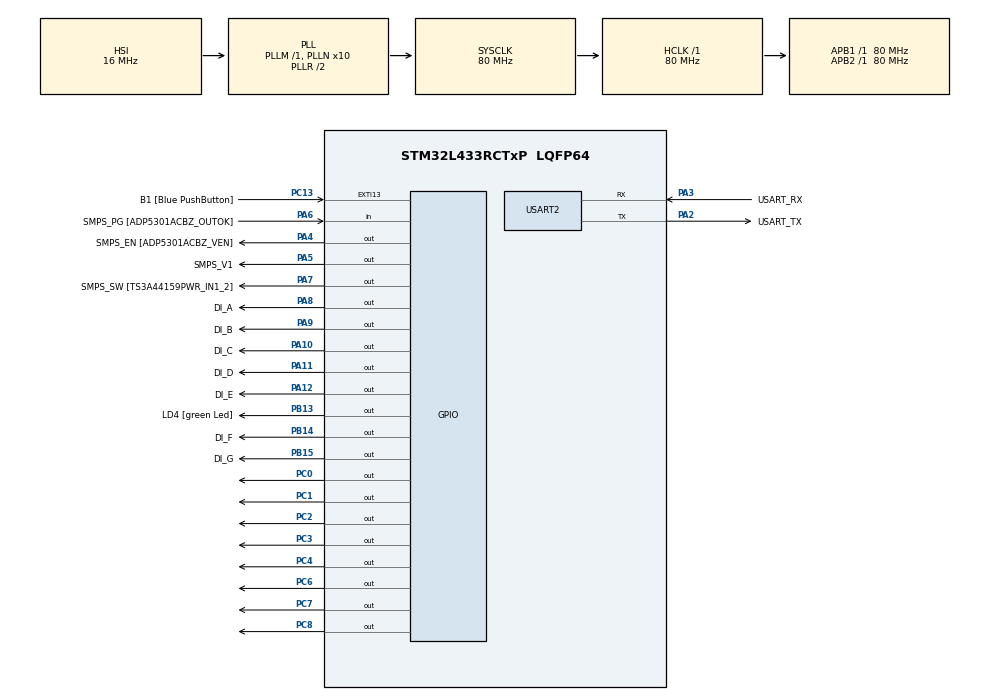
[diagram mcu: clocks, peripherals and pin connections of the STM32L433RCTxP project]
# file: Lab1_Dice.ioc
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Mcu.Family=STM32L4
Mcu.Name=STM32L433RCTxP
Mcu.Package=LQFP64
NVIC.EXTI15_10_IRQn=true\:0\:0\:false\:false\:true\:true\:true\:true
NVIC.PriorityGroup=NVIC_PRIORITYGROUP_4
PA10.GPIO_Label=DI_C
PA10.Signal=GPIO_Output
PA11.GPIO_Label=DI_D
PA11.Signal=GPIO_Output
PA12.GPIO_Label=DI_E
PA12.Signal=GPIO_Output
PA13\ (JTMS-SWDIO).GPIO_Label=TMS
PA13\ (JTMS-SWDIO).Mode=Serial_Wire
PA13\ (JTMS-SWDIO).Signal=SYS_JTMS-SWDIO
PA14\ (JTCK-SWCLK).GPIO_Label=TCK
PA14\ (JTCK-SWCLK).Mode=Serial_Wire
PA14\ (JTCK-SWCLK).Signal=SYS_JTCK-SWCLK
PA2.GPIO_Label=USART_TX
PA2.GPIO_Mode=GPIO_MODE_AF_PP
PA2.GPIO_PuPd=GPIO_NOPULL
PA2.GPIO_Speed=GPIO_SPEED_FREQ_VERY_HIGH
PA2.Mode=Asynchronous
PA2.Signal=USART2_TX
PA3.GPIO_Label=USART_RX
PA3.GPIO_Mode=GPIO_MODE_AF_PP
PA3.GPIO_PuPd=GPIO_NOPULL
PA3.GPIO_Speed=GPIO_SPEED_FREQ_VERY_HIGH
PA3.Mode=Asynchronous
PA3.Signal=USART2_RX
PA4.GPIO_Label=SMPS_EN [ADP5301ACBZ_VEN]
PA4.Signal=GPIO_Output
PA5.GPIO_Label=SMPS_V1
PA5.GPIO_ModeDefaultOutputPP=GPIO_MODE_OUTPUT_PP
PA5.GPIO_PuPd=GPIO_NOPULL
PA5.GPIO_Speed=GPIO_SPEED_FREQ_LOW
PA5.Signal=GPIO_Output
PA6.GPIO_Label=SMPS_PG [ADP5301ACBZ_OUTOK]
PA6.GPIO_PuPd=GPIO_PULLUP
PA6.Signal=GPIO_Input
PA7.GPIO_Label=SMPS_SW [TS3A44159PWR_IN1_2]
PA7.Signal=GPIO_Output
PA8.GPIO_Label=DI_A
PA8.Signal=GPIO_Output
PA9.GPIO_Label=DI_B
PA9.Signal=GPIO_Output
PB13.GPIO_Label=LD4 [green Led]
PB13.Signal=GPIO_Output
PB14.GPIO_Label=DI_F
PB14.Signal=GPIO_Output
PB15.GPIO_Label=DI_G
PB15.Signal=GPIO_Output
PB3\ (JTDO-TRACESWO).GPIO_Label=SWO
PB3\ (JTDO-TRACESWO).Signal=SYS_JTDO-SWO
PC0.Signal=GPIO_Output
PC1.Signal=GPIO_Output
PC13.GPIO_Label=B1 [Blue PushButton]
PC13.GPIO_ModeDefaultEXTI=GPIO_MODE_IT_FALLING
PC13.GPIO_PuPd=GPIO_NOPULL
PC13.Signal=GPXTI13
PC14-OSC32_IN\ (PC14).Mode=LSE-External-Oscillator
PC14-OSC32_IN\ (PC14).Signal=RCC_OSC32_IN
PC15-OSC32_OUT\ (PC15).Mode=LSE-External-Oscillator
PC15-OSC32_OUT\ (PC15).Signal=RCC_OSC32_OUT
PC2.Signal=GPIO_Output
PC3.Signal=GPIO_Output
PC4.Signal=GPIO_Output
PC6.Signal=GPIO_Output
PC7.Signal=GPIO_Output
PC8.Signal=GPIO_Output
PH0-OSC_IN\ (PH0).GPIO_Label=MCO
PH0-OSC_IN\ (PH0).Mode=HSE-External-Clock-Source
PH0-OSC_IN\ (PH0).Signal=RCC_OSC_IN
PH1-OSC_OUT\ (PH1).Signal=RCC_OSC_OUT
ProjectManager.HeapSize=0x200
ProjectManager.StackSize=0x400
ProjectManager.TargetToolchain=STM32CubeIDE
RCC.ADCFreq_Value=64000000
RCC.AHBFreq_Value=80000000
RCC.APB1Freq_Value=80000000
RCC.APB1TimFreq_Value=80000000
RCC.APB2Freq_Value=80000000
RCC.APB2TimFreq_Value=80000000
RCC.CortexFreq_Value=80000000
RCC.HCLKFreq_Value=80000000
RCC.HSE_VALUE=8000000
RCC.HSI48_VALUE=48000000
RCC.HSI_VALUE=16000000
RCC.MSI_VALUE=4000000
RCC.PLLN=10
RCC.PLLSourceVirtual=RCC_PLLSOURCE_HSI
RCC.PREFETCH_ENABLE=1
RCC.SYSCLKFreq_VALUE=80000000
RCC.SYSCLKSource=RCC_SYSCLKSOURCE_PLLCLK
RCC.USBFreq_Value=64000000
RCC.VCOOutputFreq_Value=160000000
USART2.VirtualMode-Asynchronous=VM_ASYNC
board=NUCLEO-L433RC-P

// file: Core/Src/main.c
/* USER CODE BEGIN Header */
/**
  ******************************************************************************
  * @file           : main.c
  * @brief          : Main program body
  ******************************************************************************
  * @attention
  *
  * Copyright (c) 2025 STMicroelectronics.
  * All rights reserved.
  *
  * This software is licensed under terms that can be found in the LICENSE file
  * in the root directory of this software component.
  * If no LICENSE file comes with this software, it is provided AS-IS.
  *
  ******************************************************************************
  */
/* USER CODE END Header */
#include "main.h"

/* USER CODE BEGIN Includes */
#include <stdlib.h>
/* USER CODE END Includes */

UART_HandleTypeDef huart2;

void SystemClock_Config(void);
static void MX_GPIO_Init(void);
static void MX_USART2_UART_Init(void);
/* USER CODE BEGIN PFP */
int is_blue_button_pressed();
/* USER CODE END PFP */

/* USER CODE BEGIN 0 */
const uint16_t sseg[10] = {0x5F,0x06,0x9B,0x8F,0xC6,0xCD,0xDD,0x07,0xDF,0xCF};
const uint16_t sseg_err = 0x19C;

void put_on_sseg(uint8_t dec_nbr){
	GPIOC->ODR = 0x00;

	if(dec_nbr >= 0 && dec_nbr <= 9){
		GPIOC->ODR = sseg[dec_nbr];
		return;
		}
	GPIOC->ODR = sseg_err;
}

// Returns 1 if button is pressed, else 0 //
int is_blue_button_pressed(){
	return (GPIOC->IDR & GPIO_PIN_13) != 0;
}

// Restets all pins in the dice to 0
void reset_die_dots(){
	HAL_GPIO_WritePin(DI_A_GPIO_Port,DI_A_Pin ,GPIO_PIN_RESET);
	HAL_GPIO_WritePin(DI_B_GPIO_Port,DI_B_Pin ,GPIO_PIN_RESET);
	HAL_GPIO_WritePin(DI_C_GPIO_Port,DI_C_Pin ,GPIO_PIN_RESET);
	HAL_GPIO_WritePin(DI_D_GPIO_Port,DI_D_Pin ,GPIO_PIN_RESET);
	HAL_GPIO_WritePin(DI_E_GPIO_Port,DI_E_Pin ,GPIO_PIN_RESET);
	HAL_GPIO_WritePin(DI_F_GPIO_Port,DI_F_Pin ,GPIO_PIN_RESET);
	HAL_GPIO_WritePin(DI_G_GPIO_Port,DI_G_Pin ,GPIO_PIN_RESET);
}

//turns on dice diodes depending on paramiter number
void put_die_dots(uint8_t die_number){

	reset_die_dots();

	switch(die_number){
	case 1:
		HAL_GPIO_WritePin(DI_G_GPIO_Port,DI_G_Pin ,GPIO_PIN_SET);
		break;
	case 2:
		HAL_GPIO_WritePin(DI_C_GPIO_Port,DI_C_Pin ,GPIO_PIN_SET);
		HAL_GPIO_WritePin(DI_D_GPIO_Port,DI_D_Pin ,GPIO_PIN_SET);
		break;
	case 3:
		HAL_GPIO_WritePin(DI_D_GPIO_Port,DI_D_Pin ,GPIO_PIN_SET);
		HAL_GPIO_WritePin(DI_G_GPIO_Port,DI_G_Pin ,GPIO_PIN_SET);
		HAL_GPIO_WritePin(DI_C_GPIO_Port,DI_C_Pin ,GPIO_PIN_SET);
		break;
	case 4:
		HAL_GPIO_WritePin(DI_A_GPIO_Port,DI_A_Pin ,GPIO_PIN_SET);
		HAL_GPIO_WritePin(DI_C_GPIO_Port,DI_C_Pin ,GPIO_PIN_SET);
		HAL_GPIO_WritePin(DI_D_GPIO_Port,DI_D_Pin ,GPIO_PIN_SET);
		HAL_GPIO_WritePin(DI_F_GPIO_Port,DI_F_Pin ,GPIO_PIN_SET);
		break;
	case 5:
		HAL_GPIO_WritePin(DI_A_GPIO_Port,DI_A_Pin ,GPIO_PIN_SET);
		HAL_GPIO_WritePin(DI_C_GPIO_Port,DI_C_Pin ,GPIO_PIN_SET);
		HAL_GPIO_WritePin(DI_D_GPIO_Port,DI_D_Pin ,GPIO_PIN_SET);
		HAL_GPIO_WritePin(DI_F_GPIO_Port,DI_F_Pin ,GPIO_PIN_SET);
		HAL_GPIO_WritePin(DI_G_GPIO_Port,DI_G_Pin ,GPIO_PIN_SET);
		break;
	case 6:
		HAL_GPIO_WritePin(DI_A_GPIO_Port,DI_A_Pin ,GPIO_PIN_SET);
		HAL_GPIO_WritePin(DI_B_GPIO_Port,DI_B_Pin ,GPIO_PIN_SET);
		HAL_GPIO_WritePin(DI_C_GPIO_Port,DI_C_Pin ,GPIO_PIN_SET);
		HAL_GPIO_WritePin(DI_D_GPIO_Port,DI_D_Pin ,GPIO_PIN_SET);
		HAL_GPIO_WritePin(DI_E_GPIO_Port,DI_E_Pin ,GPIO_PIN_SET);
		HAL_GPIO_WritePin(DI_F_GPIO_Port,DI_F_Pin ,GPIO_PIN_SET);
		break;
	default:
		HAL_GPIO_WritePin(DI_A_GPIO_Port,DI_A_Pin ,GPIO_PIN_SET);
		HAL_GPIO_WritePin(DI_B_GPIO_Port,DI_B_Pin ,GPIO_PIN_SET);
		HAL_GPIO_WritePin(DI_C_GPIO_Port,DI_C_Pin ,GPIO_PIN_SET);
		HAL_GPIO_WritePin(DI_D_GPIO_Port,DI_D_Pin ,GPIO_PIN_SET);
		HAL_GPIO_WritePin(DI_E_GPIO_Port,DI_E_Pin ,GPIO_PIN_SET);
		HAL_GPIO_WritePin(DI_F_GPIO_Port,DI_F_Pin ,GPIO_PIN_SET);
		HAL_GPIO_WritePin(DI_G_GPIO_Port,DI_G_Pin ,GPIO_PIN_SET);
	}
}
/* USER CODE END 0 */

int main(void)
{

  /* MCU Configuration--------------------------------------------------------*/

  /* Reset of all peripherals, Initializes the Flash interface and the Systick. */
  HAL_Init();

  /* Configure the system clock */
  SystemClock_Config();

  /* Initialize all configured peripherals */
  MX_GPIO_Init();
  MX_USART2_UART_Init();
  /* USER CODE BEGIN 2 */

  for(uint8_t i = 1; i<8; ++i){
	  put_die_dots(i);
	  HAL_Delay(333);
  }
  HAL_Delay(1000);
  reset_die_dots();

  for(uint8_t i = 0; i < 10; ++i){
  		put_on_sseg(i);
  		HAL_Delay(333);
  	}
  	put_on_sseg(88);
  	HAL_Delay(1000);
	GPIOC->ODR = 0x00;

  /* USER CODE END 2 */

  /* Infinite loop */
  /* USER CODE BEGIN WHILE */
  srand(HAL_GetTick());
  int pressed = 0;

  while (1)
  {
	  pressed = is_blue_button_pressed();

		  if(pressed){
			  HAL_GPIO_WritePin(LD4_GPIO_Port, LD4_Pin, GPIO_PIN_SET);
			  uint8_t die_value = (rand() % 6) + 1 ;
			  put_die_dots(die_value);
			  put_on_sseg(die_value);

		  }
		  else{
			  GPIO_TypeDef* ld4_gpio     = GPIOB;
			  uint16_t      ld4_pin_nbr  = 13;
			  uint16_t      ld4_pin      = 0x01 << ld4_pin_nbr;
			  HAL_GPIO_WritePin(ld4_gpio, ld4_pin, GPIO_PIN_RESET);
		  }
	  HAL_Delay(80);

    /* USER CODE END WHILE */

  }
}

void SystemClock_Config(void)
{
  RCC_OscInitTypeDef RCC_OscInitStruct = {0};
  RCC_ClkInitTypeDef RCC_ClkInitStruct = {0};

  /** Configure the main internal regulator output voltage
  */
  if (HAL_PWREx_ControlVoltageScaling(PWR_REGULATOR_VOLTAGE_SCALE1) != HAL_OK)
  {
    Error_Handler();
  }

  /** Initializes the RCC Oscillators according to the specified parameters
  * in the RCC_OscInitTypeDef structure.
  */
  RCC_OscInitStruct.OscillatorType = RCC_OSCILLATORTYPE_HSI;
  RCC_OscInitStruct.HSIState = RCC_HSI_ON;
  RCC_OscInitStruct.HSICalibrationValue = RCC_HSICALIBRATION_DEFAULT;
  RCC_OscInitStruct.PLL.PLLState = RCC_PLL_ON;
  RCC_OscInitStruct.PLL.PLLSource = RCC_PLLSOURCE_HSI;
  RCC_OscInitStruct.PLL.PLLM = 1;
  RCC_OscInitStruct.PLL.PLLN = 10;
  RCC_OscInitStruct.PLL.PLLP = RCC_PLLP_DIV7;
  RCC_OscInitStruct.PLL.PLLQ = RCC_PLLQ_DIV2;
  RCC_OscInitStruct.PLL.PLLR = RCC_PLLR_DIV2;
  if (HAL_RCC_OscConfig(&RCC_OscInitStruct) != HAL_OK)
  {
    Error_Handler();
  }

  /** Initializes the CPU, AHB and APB buses clocks
  */
  RCC_ClkInitStruct.ClockType = RCC_CLOCKTYPE_HCLK|RCC_CLOCKTYPE_SYSCLK
                              |RCC_CLOCKTYPE_PCLK1|RCC_CLOCKTYPE_PCLK2;
  RCC_ClkInitStruct.SYSCLKSource = RCC_SYSCLKSOURCE_PLLCLK;
  RCC_ClkInitStruct.AHBCLKDivider = RCC_SYSCLK_DIV1;
  RCC_ClkInitStruct.APB1CLKDivider = RCC_HCLK_DIV1;
  RCC_ClkInitStruct.APB2CLKDivider = RCC_HCLK_DIV1;

  if (HAL_RCC_ClockConfig(&RCC_ClkInitStruct, FLASH_LATENCY_4) != HAL_OK)
  {
    Error_Handler();
  }
}

static void MX_USART2_UART_Init(void)
{

  huart2.Instance = USART2;
  huart2.Init.BaudRate = 115200;
  huart2.Init.WordLength = UART_WORDLENGTH_8B;
  huart2.Init.StopBits = UART_STOPBITS_1;
  huart2.Init.Parity = UART_PARITY_NONE;
  huart2.Init.Mode = UART_MODE_TX_RX;
  huart2.Init.HwFlowCtl = UART_HWCONTROL_NONE;
  huart2.Init.OverSampling = UART_OVERSAMPLING_16;
  huart2.Init.OneBitSampling = UART_ONE_BIT_SAMPLE_DISABLE;
  huart2.AdvancedInit.AdvFeatureInit = UART_ADVFEATURE_NO_INIT;
  if (HAL_UART_Init(&huart2) != HAL_OK)
  {
    Error_Handler();
  }

}

static void MX_GPIO_Init(void)
{
  GPIO_InitTypeDef GPIO_InitStruct = {0};

  /* GPIO Ports Clock Enable */
  __HAL_RCC_GPIOC_CLK_ENABLE();
  __HAL_RCC_GPIOH_CLK_ENABLE();
  __HAL_RCC_GPIOA_CLK_ENABLE();
  __HAL_RCC_GPIOB_CLK_ENABLE();

  /*Configure GPIO pin Output Level */
  HAL_GPIO_WritePin(GPIOC, GPIO_PIN_0|GPIO_PIN_1|GPIO_PIN_2|GPIO_PIN_3
                          |GPIO_PIN_4|GPIO_PIN_6|GPIO_PIN_7|GPIO_PIN_8, GPIO_PIN_RESET);

  /*Configure GPIO pin Output Level */
  HAL_GPIO_WritePin(GPIOA, SMPS_EN_Pin|SMPS_V1_Pin|SMPS_SW_Pin|DI_A_Pin
                          |DI_B_Pin|DI_C_Pin|DI_D_Pin|DI_E_Pin, GPIO_PIN_RESET);

  /*Configure GPIO pin Output Level */
  HAL_GPIO_WritePin(GPIOB, LD4_Pin|DI_F_Pin|DI_G_Pin, GPIO_PIN_RESET);

  /*Configure GPIO pin : B1_Pin */
  GPIO_InitStruct.Pin = B1_Pin;
  GPIO_InitStruct.Mode = GPIO_MODE_IT_FALLING;
  GPIO_InitStruct.Pull = GPIO_NOPULL;
  HAL_GPIO_Init(B1_GPIO_Port, &GPIO_InitStruct);

  /*Configure GPIO pins : PC0 PC1 PC2 PC3
                           PC4 PC6 PC7 PC8 */
  GPIO_InitStruct.Pin = GPIO_PIN_0|GPIO_PIN_1|GPIO_PIN_2|GPIO_PIN_3
                          |GPIO_PIN_4|GPIO_PIN_6|GPIO_PIN_7|GPIO_PIN_8;
  GPIO_InitStruct.Mode = GPIO_MODE_OUTPUT_PP;
  GPIO_InitStruct.Pull = GPIO_NOPULL;
  GPIO_InitStruct.Speed = GPIO_SPEED_FREQ_LOW;
  HAL_GPIO_Init(GPIOC, &GPIO_InitStruct);

  /*Configure GPIO pins : SMPS_EN_Pin SMPS_V1_Pin SMPS_SW_Pin DI_A_Pin
                           DI_B_Pin DI_C_Pin DI_D_Pin DI_E_Pin */
  GPIO_InitStruct.Pin = SMPS_EN_Pin|SMPS_V1_Pin|SMPS_SW_Pin|DI_A_Pin
                          |DI_B_Pin|DI_C_Pin|DI_D_Pin|DI_E_Pin;
  GPIO_InitStruct.Mode = GPIO_MODE_OUTPUT_PP;
  GPIO_InitStruct.Pull = GPIO_NOPULL;
  GPIO_InitStruct.Speed = GPIO_SPEED_FREQ_LOW;
  HAL_GPIO_Init(GPIOA, &GPIO_InitStruct);

  /*Configure GPIO pin : SMPS_PG_Pin */
  GPIO_InitStruct.Pin = SMPS_PG_Pin;
  GPIO_InitStruct.Mode = GPIO_MODE_INPUT;
  GPIO_InitStruct.Pull = GPIO_PULLUP;
  HAL_GPIO_Init(SMPS_PG_GPIO_Port, &GPIO_InitStruct);

  /*Configure GPIO pins : LD4_Pin DI_F_Pin DI_G_Pin */
  GPIO_InitStruct.Pin = LD4_Pin|DI_F_Pin|DI_G_Pin;
  GPIO_InitStruct.Mode = GPIO_MODE_OUTPUT_PP;
  GPIO_InitStruct.Pull = GPIO_NOPULL;
  GPIO_InitStruct.Speed = GPIO_SPEED_FREQ_LOW;
  HAL_GPIO_Init(GPIOB, &GPIO_InitStruct);

  /* EXTI interrupt init*/
  HAL_NVIC_SetPriority(EXTI15_10_IRQn, 0, 0);
  HAL_NVIC_EnableIRQ(EXTI15_10_IRQn);

}

/* USER CODE BEGIN 4 */
void HAL_GPIO_EXTI_Callback(uint16_t GPIO_Pin) {
    if (GPIO_Pin == B1_Pin) {
        HAL_GPIO_WritePin(LD4_GPIO_Port, LD4_Pin, GPIO_PIN_SET);
        uint8_t die_value = (rand() % 6) + 1;
        put_die_dots(die_value);
    }
}

/*  uint32_t arr[10];
  void test_endianness(){
	  for(int i = 0; i<10; i +=2){
		  arr[i+0] = 0xDEADBEEF;
		  arr[i+1] = 0xCAFED00D;
	  }
	  uint16_t a = arr[0];
	  uint16_t b = arr[1];
	  uint16_t c = arr[2];
	  uint8_t x = arr[0];
	  uint8_t y = arr[1];
	  uint8_t *arr8 = (uint8_t *) arr;
	  uint8_t p = arr8[0];
	  uint8_t q = arr8[1];
	  uint8_t r = arr8[2];
	  uint8_t s = arr8[3];
	  uint8_t t = arr8[4];
	  uint16_t babe = 0xBABE;
	  arr[0] = babe;
	  return;
  }*/

/* USER CODE END 4 */

void Error_Handler(void)
{
  __disable_irq();
  while (1)
  {
  }
}
